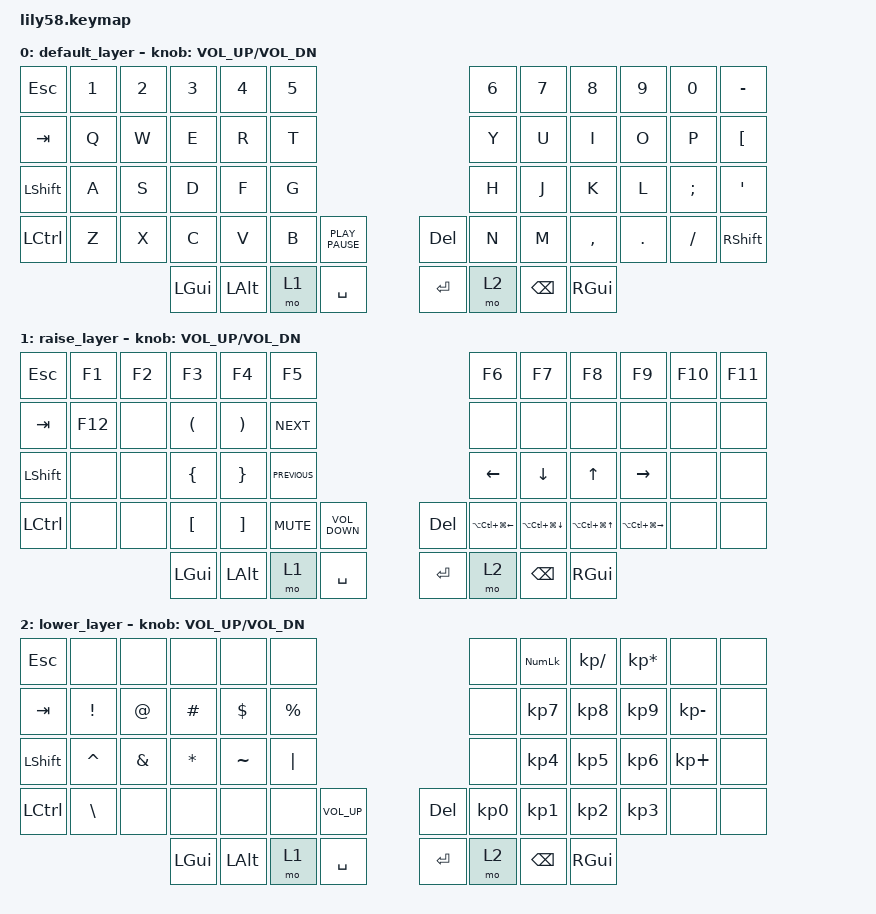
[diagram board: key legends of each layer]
/*
 * Copyright (c) 2020 The ZMK Contributors
 *
 * SPDX-License-Identifier: MIT
 */

#include <behaviors.dtsi>
#include <dt-bindings/zmk/keys.h>

/ {
    keymap {
        compatible = "zmk,keymap";

        default_layer {
            // -------------------------------------------------------------------------------------------------------------------------------------------------------
            // |   ESC   |    1    |    2    |    3    |    4    |    5    |                          |    6    |    7    |     8     |    9    |    0    |    -     |  (=)
            // |   TAB   |    Q    |    W    |    E    |    R    |    T    |                          |    Y    |    U    |     I     |    O    |    P    |   "["    |  (])
            // |   SHIFT |    A    |    S    |    D    |    F    |    G    |                          |    H    |    J    |     K     |    L    |    :    |    '     |  (\)
            // |   CTRL  |    Z    |    X    |    C    |    V    |    B    |  PA/PL  |        |  DEL  |    N    |    M    |     ,     |    .    |    /    |   SHIFT  |
            //                               |   GUI   |   ALT   |  LOWER  |  SPACE  |        | ENTER |  RAISE  |   BSPC  |    GUI    |

            bindings = <
  &kp ESC  &kp N1  &kp N2    &kp N3    &kp N4  &kp N5                             &kp N6    &kp N7     &kp N8   &kp N9    &kp N0   &kp MINUS
  &kp TAB   &kp Q   &kp W     &kp E     &kp R   &kp T                              &kp Y     &kp U      &kp I    &kp O     &kp P    &kp LBKT
&kp LSHFT   &kp A   &kp S     &kp D     &kp F   &kp G                              &kp H     &kp J      &kp K    &kp L  &kp SEMI     &kp SQT
&kp LCTRL   &kp Z   &kp X     &kp C     &kp V   &kp B  &kp K_PLAY_PAUSE  &kp DEL   &kp N     &kp M  &kp COMMA  &kp DOT  &kp FSLH  &kp RSHIFT
                           &kp LGUI  &kp LALT   &mo 1         &kp SPACE  &kp RET   &mo 2  &kp BSPC   &kp RGUI
            >;

            sensor-bindings = <&inc_dec_kp C_VOL_UP C_VOL_DN>;
        };

        raise_layer {
            // -----------------------------------------------------------------------------------------------------------------------------------------------------
            // |   ESC   |   F1    |    F2   |    F3   |    F4   |    F5   |                          |   F6    |    F7   |   F8    |    F9   |   F10   |    F11   |
            // |   TAB   |   F12   |         |    (    |    )    |   NEXT  |                          |         |         |         |         |         |          |
            // |   SHIFT |         |         |    {    |    }    |   PREV  |                          |   <-    |    v    |    ^    |    ->   |         |          |
            // |   CTRL  |         |         |    [    |    ]    |   MUTE  |  VOLUP  |        |  DEL  |         |         |         |         |         |          |
            //                               |   GUI   |   ALT   |  LOWER  |  SPACE  |        | ENTER |  RAISE  |   BSPC  |   GUI   |

            bindings = <
  &kp ESC   &kp F1  &kp F2    &kp F3    &kp F4          &kp F5                                                  &kp F6                      &kp F7                    &kp F8                       &kp F9  &kp F10  &kp F11
  &kp TAB  &kp F12   &none  &kp LPAR  &kp RPAR      &kp C_NEXT                                                   &none                       &none                     &none                        &none    &none    &none
&kp LSHFT    &none   &none  &kp LBRC  &kp RBRC  &kp C_PREVIOUS                                          &kp LEFT_ARROW              &kp DOWN_ARROW              &kp UP_ARROW              &kp RIGHT_ARROW    &none    &none
&kp LCTRL    &none   &none  &kp LBKT  &kp RBKT      &kp C_MUTE  &kp C_VOLUME_DOWN  &kp DEL  &kp LA(LC(LG(LEFT_ARROW)))  &kp LA(LC(LG(DOWN_ARROW)))  &kp LA(LC(LG(UP_ARROW)))  &kp LA(LC(LG(RIGHT_ARROW)))    &none    &none
                            &kp LGUI  &kp LALT           &mo 1          &kp SPACE  &kp RET                       &mo 2                    &kp BSPC                  &kp RGUI
            >;

            sensor-bindings = <&inc_dec_kp C_VOL_UP C_VOL_DN>;
        };

        lower_layer {
            // -------------------------------------------------------------------------------------------------------------------------------------------------------------------------------------------
            // |   ESC   |           |         |               |           |             |                          |           |           |         /        |         *         |      -      |       |
            // |   TAB   |     !     |    @    |       #       |     $     |      %      |                          |           |     7     |         8        |         9         |      +      |       |
            // |   SHIFT |     ^     |    &    |       *       |     ~     |      |      |                          |           |     4     |         5        |         6         |      =      |       |
            // |   CTRL  |     \     |         |               |           |             |  VOLDN  |        |  DEL  |     0     |     1     |         2        |         3         |             |       |
            //                                 |      GUI      |    ALT    |    LOWER    |  SPACE  |        | ENTER |   RAISE   |    BSPC   |        GUI       |  

            bindings = <
  &kp ESC      &none     &none         &none       &none      &none                                      &none   &kp KP_NUMLOCK    &kp KP_DIVIDE  &kp KP_MULTIPLY         &none  &none
  &kp TAB   &kp EXCL    &kp AT      &kp HASH  &kp DOLLAR  &kp PRCNT                                      &none  &kp KP_NUMBER_7  &kp KP_NUMBER_8  &kp KP_NUMBER_9  &kp KP_MINUS  &none
&kp LSHFT  &kp CARET  &kp AMPS  &kp ASTERISK   &kp TILDE   &kp PIPE                                      &none  &kp KP_NUMBER_4  &kp KP_NUMBER_5  &kp KP_NUMBER_6   &kp KP_PLUS  &none
&kp LCTRL   &kp BSLH     &none         &none       &none      &none  &kp C_VOLUME_UP  &kp DEL  &kp KP_NUMBER_0  &kp KP_NUMBER_1  &kp KP_NUMBER_2  &kp KP_NUMBER_3         &none  &none
                                    &kp LGUI    &kp LALT      &mo 1        &kp SPACE  &kp RET            &mo 2         &kp BSPC         &kp RGUI
            >;

            sensor-bindings = <&inc_dec_kp C_VOL_UP C_VOL_DN>;
        };
    };
};
